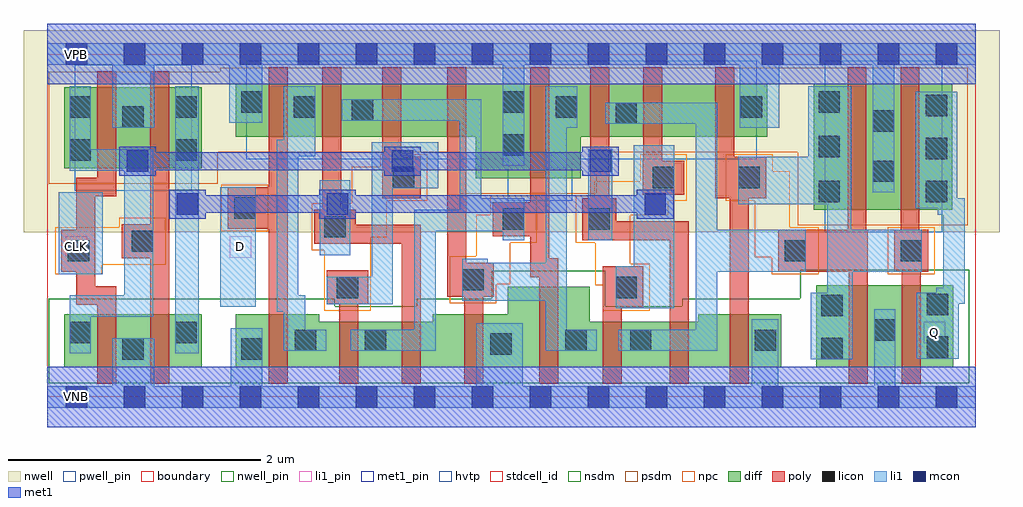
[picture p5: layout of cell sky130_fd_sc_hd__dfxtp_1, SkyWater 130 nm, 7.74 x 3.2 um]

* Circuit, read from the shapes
.subckt sky130_fd_sc_hd__dfxtp_1 CLK D Q VGND VNB VPB VPWR
XM1 VGND CLK n1 VNB sky130_fd_pr__nfet_01v8 w=0.42 l=0.15
XM2 n2 n1 VGND VNB sky130_fd_pr__nfet_01v8 w=0.42 l=0.15
XM3 n3 D VGND VNB sky130_fd_pr__nfet_01v8 w=0.42 l=0.15
XM4 n4 n1 n3 VNB sky130_fd_pr__nfet_01v8 w=0.36 l=0.15
XM5 n5 n2 n4 VNB sky130_fd_pr__nfet_01v8 w=0.36 l=0.15
XM6 VGND n6 n5 VNB sky130_fd_pr__nfet_01v8 w=0.42 l=0.15
XM7 n6 n4 VGND VNB sky130_fd_pr__nfet_01v8 w=0.64 l=0.15
XM8 n7 n2 n6 VNB sky130_fd_pr__nfet_01v8 w=0.36 l=0.15
XM9 n8 n1 n7 VNB sky130_fd_pr__nfet_01v8 w=0.36 l=0.15
XM10 VGND n9 n8 VNB sky130_fd_pr__nfet_01v8 w=0.42 l=0.15
XM11 VGND n7 n9 VNB sky130_fd_pr__nfet_01v8 w=0.65 l=0.15
XM12 Q n9 VGND VNB sky130_fd_pr__nfet_01v8 w=0.65 l=0.15
XM13 VPWR CLK n1 VPB sky130_fd_pr__pfet_01v8_hvt w=0.64 l=0.15
XM14 n2 n1 VPWR VPB sky130_fd_pr__pfet_01v8_hvt w=0.64 l=0.15
XM15 n3 D VPWR VPB sky130_fd_pr__pfet_01v8_hvt w=0.42 l=0.15
XM16 n4 n2 n3 VPB sky130_fd_pr__pfet_01v8_hvt w=0.42 l=0.15
XM17 n10 n1 n4 VPB sky130_fd_pr__pfet_01v8_hvt w=0.42 l=0.15
XM18 VPWR n6 n10 VPB sky130_fd_pr__pfet_01v8_hvt w=0.42 l=0.15
XM19 n6 n4 VPWR VPB sky130_fd_pr__pfet_01v8_hvt w=0.75 l=0.15
XM20 n7 n1 n6 VPB sky130_fd_pr__pfet_01v8_hvt w=0.42 l=0.15
XM21 n11 n2 n7 VPB sky130_fd_pr__pfet_01v8_hvt w=0.42 l=0.15
XM22 VPWR n9 n11 VPB sky130_fd_pr__pfet_01v8_hvt w=0.42 l=0.15
XM23 VPWR n7 n9 VPB sky130_fd_pr__pfet_01v8_hvt w=1 l=0.15
XM24 Q n9 VPWR VPB sky130_fd_pr__pfet_01v8_hvt w=1 l=0.15
.ends

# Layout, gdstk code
import gdstk
lib = gdstk.Library(unit=1e-6, precision=1e-09)
def R(c, l, rs):  # rectangles x0, y0, x1, y1
    for r in rs: c.add(gdstk.rectangle(r[:2], r[2:], *l))
def A(c, l, x, y, w, h, nx, ny, dx, dy):  # array of equal rectangles
    R(c, l, [(x+i*dx, y+j*dy, x+i*dx+w, y+j*dy+h) for i in range(nx) for j in range(ny)])
nwell_pin = (64, 16)
nwell = (64, 20)
diff = (65, 20)
poly = (66, 20)
licon = (66, 44)
li1_pin = (67, 16)
li1 = (67, 20)
mcon = (67, 44)
met1_pin = (68, 16)
met1 = (68, 20)
hvtp = (78, 44)
stdcell_id = (81, 4)
nsdm = (93, 44)
psdm = (94, 20)
npc = (95, 20)
pwell_pin = (122, 16)
boundary = (235, 4)

sky130_fd_sc_hd__dfxtp_1 = lib.new_cell('sky130_fd_sc_hd__dfxtp_1')
R(sky130_fd_sc_hd__dfxtp_1, nwell_pin, [(0.145,2.635,0.315,2.805)])
R(sky130_fd_sc_hd__dfxtp_1, nwell, [(-0.19,1.305,7.55,2.91)])
R(sky130_fd_sc_hd__dfxtp_1, diff, [(0.135,0.235,1.225,0.655), (1.495,0.235,5.82,0.595), (6.095,0.235,7.185,0.885), (1.495,0.595,2.155,0.655), (3.055,0.595,4.3,0.655), (5.16,0.595,5.82,0.655), (3.65,0.655,4.3,0.875), (6.075,1.485,7.175,2.485), (3.395,1.735,4.23,2.065), (0.135,1.815,1.225,2.455), (1.495,2.065,5.71,2.485)])
R(sky130_fd_sc_hd__dfxtp_1, poly, [(0.395,0.105,0.545,0.73), (0.815,0.105,0.965,1.1), (1.755,0.105,1.905,1.335), (2.315,0.105,2.465,0.735), (2.81,0.105,2.96,1.215), (3.305,0.105,3.455,0.795), (3.9,0.105,4.05,0.95), (4.405,0.105,4.555,0.705), (4.935,0.105,5.085,1.245), (5.41,0.105,5.56,1.575), (6.355,0.105,6.505,0.995), (6.775,0.105,6.925,0.995), (4.405,0.705,4.725,1.035), (0.23,0.73,0.545,0.88), (2.215,0.735,2.545,1.005), (3.17,0.795,3.54,1.065), (0.23,0.88,0.38,0.995), (3.83,0.95,4.05,1.1), (0.11,0.995,0.38,1.325), (5.795,0.995,6.505,1.325), (6.715,0.995,6.985,1.325), (3.17,1.065,3.32,2.615), (0.59,1.1,0.965,1.37), (3.83,1.1,3.98,1.275), (2.115,1.215,2.96,1.365), (4.24,1.245,5.085,1.395), (3.53,1.275,3.98,1.545), (0.23,1.325,0.38,1.59), (6.345,1.325,6.495,2.615), (6.765,1.325,6.915,2.615), (1.43,1.335,1.905,1.665), (2.115,1.365,2.445,1.485), (0.815,1.37,0.965,2.585), (4.24,1.395,4.51,1.575), (2.18,1.485,2.33,2.615), (3.83,1.545,3.98,2.615), (2.655,1.575,2.96,1.905), (4.305,1.575,4.455,2.615), (5.295,1.575,5.7,1.905), (0.23,1.59,0.545,1.74), (4.72,1.605,5.05,1.875), (1.755,1.665,1.905,2.615), (0.395,1.74,0.545,2.585), (4.725,1.875,4.875,2.615), (2.655,1.905,2.805,2.615), (5.295,1.905,5.445,2.615)])
A(sky130_fd_sc_hd__dfxtp_1, licon, 6.115, 1.545, 0.17, 0.17, 1, 3, 0, 0.355)
A(sky130_fd_sc_hd__dfxtp_1, licon, 6.965, 1.545, 0.17, 0.17, 1, 3, 0, 0.34)
R(sky130_fd_sc_hd__dfxtp_1, licon, [(0.595,0.295,0.765,0.465), (1.535,0.295,1.705,0.465), (6.135,0.3,6.305,0.47), (6.975,0.31,7.145,0.48), (3.51,0.335,3.68,0.505), (1.96,0.365,2.13,0.535), (2.515,0.365,2.685,0.535), (4.105,0.365,4.275,0.535), (4.62,0.365,4.79,0.535), (5.61,0.365,5.78,0.535), (0.175,0.425,0.345,0.595), (1.015,0.425,1.185,0.595), (6.555,0.445,6.725,0.615), (6.135,0.64,6.305,0.81), (6.975,0.65,7.145,0.82), (2.295,0.785,2.465,0.955), (4.505,0.785,4.675,0.955), (3.29,0.845,3.46,1.015), (0.16,1.075,0.33,1.245), (5.845,1.075,6.015,1.245), (6.765,1.075,6.935,1.245), (0.67,1.15,0.84,1.32), (2.195,1.265,2.365,1.435), (3.61,1.325,3.78,1.495), (4.29,1.325,4.46,1.495), (1.48,1.415,1.65,1.585), (2.74,1.655,2.91,1.825), (4.8,1.655,4.97,1.825), (5.48,1.655,5.65,1.825), (6.545,1.705,6.715,1.875), (0.175,1.875,0.345,2.045), (1.015,1.875,1.185,2.045), (3.61,1.915,3.78,2.085), (6.545,2.105,6.715,2.275), (0.595,2.135,0.765,2.305), (4.505,2.165,4.675,2.335), (2.415,2.19,2.585,2.36), (0.175,2.215,0.345,2.385), (1.015,2.215,1.185,2.385), (1.955,2.215,2.125,2.385), (4.03,2.215,4.2,2.385), (5.5,2.215,5.67,2.385), (1.535,2.255,1.705,2.425), (3.61,2.255,3.78,2.425)])
R(sky130_fd_sc_hd__dfxtp_1, li1_pin, [(6.95,0.425,7.12,0.595), (0.145,1.105,0.315,1.275), (1.445,1.105,1.615,1.275)])
R(sky130_fd_sc_hd__dfxtp_1, li1, [(0,-0.085,7.36,0.085), (0.515,0.085,0.845,0.465), (1.455,0.085,1.705,0.545), (3.4,0.085,3.77,0.585), (5.585,0.085,5.795,0.615), (6.555,0.085,6.725,0.695), (6.055,0.3,6.385,0.825), (6.895,0.305,7.225,0.74), (0.175,0.345,0.345,0.635), (1.015,0.345,1.2,2.465), (1.875,0.365,2.21,0.535), (2.405,0.365,3.08,0.535), (3.95,0.365,4.355,0.535), (4.525,0.365,5.31,0.535), (1.875,0.535,2.045,0.675), (2.91,0.535,3.08,1.315), (3.95,0.535,4.12,0.765), (5.14,0.535,5.31,0.995), (0.175,0.635,0.84,0.805), (1.82,0.675,2.045,0.805), (4.505,0.705,4.97,1.035), (1.37,0.715,1.65,1.665), (2.215,0.735,2.74,0.955), (6.895,0.74,7.275,0.825), (3.29,0.765,4.12,1.065), (0.61,0.805,0.84,1.795), (1.82,0.805,1.99,1.91), (6.185,0.825,6.385,0.995), (7.05,0.825,7.275,0.865), (7.105,0.865,7.275,1.445), (2.57,0.955,2.74,1.655), (0.09,0.975,0.44,1.625), (5.14,0.995,6.015,1.325), (6.185,0.995,6.935,1.325), (4.65,1.035,4.97,1.995), (3.29,1.065,3.49,1.095), (3.95,1.065,4.12,2.135), (2.16,1.125,2.4,1.72), (3.61,1.245,3.78,1.315), (4.29,1.245,4.48,1.965), (2.91,1.315,3.78,1.485), (5.14,1.325,5.31,2.165), (6.185,1.325,6.375,1.53), (7.06,1.445,7.275,1.495), (3.27,1.485,3.78,1.575), (6.885,1.495,7.275,1.575), (5.48,1.53,6.375,1.905), (3.27,1.575,3.44,2.19), (6.885,1.575,7.215,2.42), (6.545,1.625,6.715,2.635), (2.57,1.655,3.1,2.02), (0.175,1.795,0.84,1.965), (3.61,1.835,3.78,2.635), (6.035,1.905,6.375,2.465), (1.82,1.91,2.125,2.04), (0.175,1.965,0.345,2.465), (1.875,2.04,2.125,2.465), (0.515,2.135,0.845,2.635), (3.95,2.135,4.2,2.465), (5.49,2.135,5.805,2.635), (4.425,2.165,5.31,2.335), (1.44,2.175,1.705,2.635), (2.335,2.19,3.44,2.36), (0,2.635,7.36,2.805)])
A(sky130_fd_sc_hd__dfxtp_1, mcon, 0.145, -0.085, 0.17, 0.17, 16, 2, 0.46, 2.72)
R(sky130_fd_sc_hd__dfxtp_1, mcon, [(1.025,1.445,1.195,1.615), (2.215,1.445,2.385,1.615), (4.735,1.445,4.905,1.615), (0.63,1.785,0.8,1.955), (2.73,1.785,2.9,1.955), (4.3,1.785,4.47,1.955)])
R(sky130_fd_sc_hd__dfxtp_1, met1_pin, [(0.145,-0.085,0.315,0.085), (0.145,2.635,0.315,2.805)])
R(sky130_fd_sc_hd__dfxtp_1, met1, [(0,-0.24,7.36,0.24), (0.965,1.415,1.255,1.46), (2.155,1.415,2.445,1.46), (4.675,1.415,4.965,1.46), (0.965,1.46,4.965,1.6), (0.965,1.6,1.255,1.645), (2.155,1.6,2.445,1.645), (4.675,1.6,4.965,1.645), (0.57,1.755,0.86,1.8), (2.67,1.755,2.96,1.8), (4.24,1.755,4.53,1.8), (0.57,1.8,4.53,1.94), (0.57,1.94,0.86,1.985), (2.67,1.94,2.96,1.985), (4.24,1.94,4.53,1.985), (0,2.48,7.36,2.96)])
R(sky130_fd_sc_hd__dfxtp_1, hvtp, [(6.165,1.305,7.095,2.665), (3.65,1.555,4.16,1.885), (0.215,1.635,1.145,2.635), (1.575,1.885,5.625,2.665)])
R(sky130_fd_sc_hd__dfxtp_1, stdcell_id, [(0,0,7.36,2.72)])
R(sky130_fd_sc_hd__dfxtp_1, nsdm, [(0.01,0.11,7.31,0.72), (0.01,0.72,2.28,0.78), (2.93,0.72,4.425,0.78), (5.035,0.72,7.31,0.78), (3.525,0.78,4.425,1), (5.97,0.78,7.31,1.01)])
R(sky130_fd_sc_hd__dfxtp_1, psdm, [(5.95,1.36,7.3,1.94), (3.27,1.61,4.355,1.94), (0.01,1.69,1.35,1.94), (0.01,1.94,7.3,2.58), (1.37,2.58,7.3,2.61)])
R(sky130_fd_sc_hd__dfxtp_1, npc, [(2.195,0.685,2.565,1.165), (4.405,0.685,4.775,0.885), (3.19,0.745,3.56,0.895), (4.345,0.885,4.775,1.055), (3.19,0.895,3.67,1.115), (0.06,0.975,0.43,1.05), (5.745,0.975,6.115,1.11), (6.665,0.975,7.035,1.345), (0.06,1.05,0.94,1.345), (4.345,1.055,4.62,1.225), (5.61,1.11,6.115,1.345), (3.4,1.115,3.67,1.225), (2.095,1.165,2.565,1.265), (3.4,1.225,3.88,1.445), (4.19,1.225,4.62,1.44), (2.095,1.265,2.69,1.535), (1.38,1.315,1.75,1.685), (0.57,1.345,0.94,1.42), (5.61,1.345,5.885,1.555), (4.19,1.44,4.925,1.555), (3.51,1.445,3.88,1.595), (2.415,1.535,2.69,1.555), (2.415,1.555,3.01,1.825), (4.19,1.555,5.07,1.595), (5.38,1.555,5.885,1.79), (4.335,1.595,5.07,1.71), (4.7,1.71,5.07,1.925), (5.38,1.79,5.75,1.925), (2.64,1.825,3.01,1.925)])
R(sky130_fd_sc_hd__dfxtp_1, pwell_pin, [(0.145,-0.085,0.315,0.085)])
R(sky130_fd_sc_hd__dfxtp_1, boundary, [(0,0,7.36,2.72)])
sky130_fd_sc_hd__dfxtp_1.add(gdstk.Label('VPB', (0.23,2.72), layer=64, texttype=5))
sky130_fd_sc_hd__dfxtp_1.add(gdstk.Label('VNB', (0.23,0), layer=64, texttype=59))
sky130_fd_sc_hd__dfxtp_1.add(gdstk.Label('Q', (7.035,0.51), layer=67, texttype=5))
sky130_fd_sc_hd__dfxtp_1.add(gdstk.Label('CLK', (0.23,1.19), layer=67, texttype=5))
sky130_fd_sc_hd__dfxtp_1.add(gdstk.Label('D', (1.53,1.19), layer=67, texttype=5))
sky130_fd_sc_hd__dfxtp_1.add(gdstk.Label('VPB', (0.23,2.72), layer=64, texttype=5))
sky130_fd_sc_hd__dfxtp_1.add(gdstk.Label('VNB', (0.23,0), layer=64, texttype=59))
sky130_fd_sc_hd__dfxtp_1.add(gdstk.Label('VPWR', (0.23,2.72), layer=68, texttype=5))
sky130_fd_sc_hd__dfxtp_1.add(gdstk.Label('VGND', (0.23,0), layer=68, texttype=5))

lib.write_gds('sky130_fd_sc_hd__dfxtp_1.gds')
